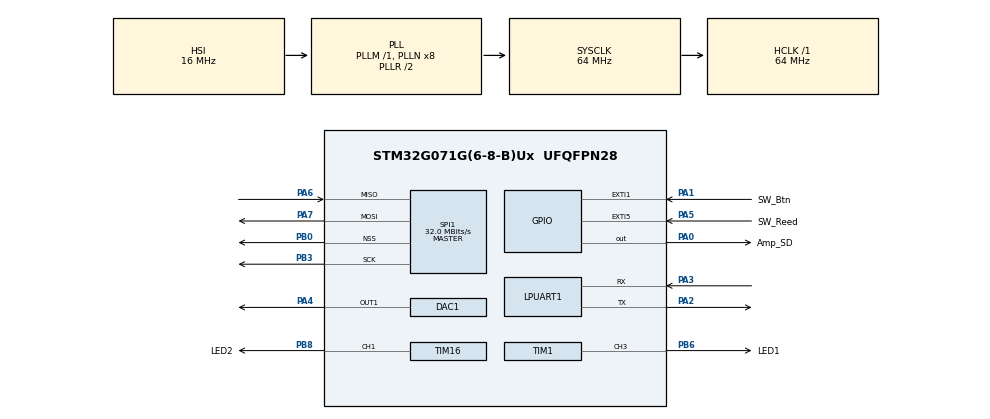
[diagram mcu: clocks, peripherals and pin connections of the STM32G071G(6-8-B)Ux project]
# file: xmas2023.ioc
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DAC1.DAC_Channel-DAC_OUT1=DAC_CHANNEL_1
Dma.Request0=TIM6_UP
Dma.TIM6_UP.0.Direction=DMA_MEMORY_TO_PERIPH
Dma.TIM6_UP.0.EventEnable=DISABLE
Dma.TIM6_UP.0.Instance=DMA1_Channel2
Dma.TIM6_UP.0.MemDataAlignment=DMA_MDATAALIGN_HALFWORD
Dma.TIM6_UP.0.MemInc=DMA_MINC_ENABLE
Dma.TIM6_UP.0.Mode=DMA_NORMAL
Dma.TIM6_UP.0.PeriphDataAlignment=DMA_PDATAALIGN_HALFWORD
Dma.TIM6_UP.0.PeriphInc=DMA_PINC_DISABLE
Dma.TIM6_UP.0.Polarity=HAL_DMAMUX_REQ_GEN_RISING
Dma.TIM6_UP.0.Priority=DMA_PRIORITY_VERY_HIGH
Dma.TIM6_UP.0.RequestNumber=1
Dma.TIM6_UP.0.SignalID=NONE
Dma.TIM6_UP.0.SyncEnable=DISABLE
Dma.TIM6_UP.0.SyncPolarity=HAL_DMAMUX_SYNC_NO_EVENT
Dma.TIM6_UP.0.SyncRequestNumber=1
Dma.TIM6_UP.0.SyncSignalID=NONE
Mcu.Family=STM32G0
Mcu.Name=STM32G071G(6-8-B)Ux
Mcu.Package=UFQFPN28
NVIC.DMA1_Channel2_3_IRQn=true\:0\:0\:false\:false\:true\:false\:true\:true
PA0.GPIO_Label=Amp_SD
PA0.Signal=GPIO_Output
PA1.GPIO_Label=SW_Btn
PA1.GPIO_ModeDefaultEXTI=GPIO_MODE_EVT_RISING
PA1.Signal=GPXTI1
PA13.Mode=Serial_Wire
PA13.Signal=SYS_SWDIO
PA14-BOOT0.Mode=Serial_Wire
PA14-BOOT0.Signal=SYS_SWCLK
PA2.Mode=Asynchronous
PA2.Signal=LPUART1_TX
PA3.Mode=Asynchronous
PA3.Signal=LPUART1_RX
PA4.Signal=COMP_DAC11_group
PA5.GPIO_Label=SW_Reed
PA5.GPIO_ModeDefaultEXTI=GPIO_MODE_EVT_RISING
PA5.Signal=GPXTI5
PA6.Mode=Full_Duplex_Master
PA6.Signal=SPI1_MISO
PA7.Mode=Full_Duplex_Master
PA7.Signal=SPI1_MOSI
PB0.Mode=NSS_Signal_Hard_Output
PB0.Signal=SPI1_NSS
PB3.Mode=Full_Duplex_Master
PB3.Signal=SPI1_SCK
PB6.GPIO_Label=LED1
PB6.Signal=S_TIM1_CH3
PB8.GPIO_Label=LED2
PB8.Signal=S_TIM16_CH1
ProjectManager.HeapSize=0x200
ProjectManager.StackSize=0x400
ProjectManager.TargetToolchain=STM32CubeIDE
RCC.ADCFreq_Value=64000000
RCC.AHBFreq_Value=64000000
RCC.CortexFreq_Value=64000000
RCC.EXTERNAL_CLOCK_VALUE=48000
RCC.HCLKFreq_Value=64000000
RCC.HSE_VALUE=8000000
RCC.HSI_VALUE=16000000
RCC.LSE_VALUE=32768
RCC.SYSCLKFreq_VALUE=64000000
RCC.SYSCLKSource=RCC_SYSCLKSOURCE_PLLCLK
RCC.VCOOutputFreq_Value=128000000
SH.COMP_DAC11_group.0=DAC1_OUT1,DAC_OUT1
SH.S_TIM16_CH1.0=TIM16_CH1,Output Compare1 CH1
SH.S_TIM1_CH3.0=TIM1_CH3,Output Compare3 CH3
SPI1.CalculateBaudRate=32.0 MBits/s
SPI1.Direction=SPI_DIRECTION_2LINES
SPI1.Mode=SPI_MODE_MASTER
SPI1.VirtualNSS=VM_NSSHARD
SPI1.VirtualType=VM_MASTER
SYS.PVDHLevel=PWR_PVDLEVEL_RISING_4
SYS.PVDLLevel=PWR_PVDLEVEL_FALLING_2
TIM1.Channel-Output\ Compare3\ CH3=TIM_CHANNEL_3
TIM16.Channel=TIM_CHANNEL_1
TIM6.Period=7999
VP_SYS_VS_DBSignals.Mode=DisableDeadBatterySignals
VP_SYS_V_PVD_IN.Mode=Mode_PVD_Int
VP_TIM16_VS_ClockSourceINT.Mode=Enable_Timer
VP_TIM6_VS_ClockSourceINT.Mode=Enable_Timer
board=custom

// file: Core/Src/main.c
/* USER CODE BEGIN Header */
/**
  ******************************************************************************
  * @file           : main.c
  * @brief          : Main program body
  ******************************************************************************
  * @attention
  *
  * Copyright (c) 2023 STMicroelectronics.
  * All rights reserved.
  *
  * This software is licensed under terms that can be found in the LICENSE file
  * in the root directory of this software component.
  * If no LICENSE file comes with this software, it is provided AS-IS.
  *
  ******************************************************************************
  */

/**
 * The Brio Light and Sound Level Crossing (33675, very much discontinued!)
 * has a pushbutton, a reed switch (detects train's magnets passing over it),
 * two red LEDs, and a speaker.
 *
 * This replacement board attempts to improve on the audio quality, but keep the
 * basic operation almost the same. The old board joined the two switches to
 * a single pin. I'm keeping them separated so we can use the pushbutton for
 * additional functions. Like making the darn thing quiet. Right?
 *
 *
 * Basic operation -
 * Starts into a low power mode (WFE).
 * When either button is activated, plays a train crossing sound (TBD: only one
 * in memory? Multiple and cycle through them? Random selection?) and flashes
 * the LEDs alternately at a rate of about 2Hz.
 *
 * The flashing and sound should be about 5 seconds long to match the original.
 *
 * I'm using the length of the audio track (MP3 file) to determine how long
 * to flash lights.
 */

/* USER CODE END Header */
#include "main.h"

/* USER CODE BEGIN Includes */
#include <stdbool.h>

#include "audio.h"
#include "OneButton.h"
#include "signal_leds.h"
/* USER CODE END Includes */

/* USER CODE BEGIN PTD */
typedef enum LightSoundState_e{
	INACTIVE,
	ACTIVE
} LSState;

typedef enum SwitchState_e{
	RELEASED,
	PRESSED,
	LONG_PRESSED,
	DOUBLE_CLICKED
} SwState;

/* USER CODE END PTD */

/* USER CODE BEGIN PD */
//const uint8_t* mp3_file = (uint8_t*)(0x8010000); // offset of 64k from start of Flash
//const int filelen = 27059;

extern uint8_t audio1_data[];
extern size_t audio1_size;

extern uint8_t whistle_data[];
extern size_t whistle_size;

extern uint8_t chug_data[];
extern size_t chug_size;

#define LED_BLINK_TIME		(200u) // 200 millisecond blink

/* USER CODE END PD */

DAC_HandleTypeDef hdac1;

UART_HandleTypeDef hlpuart1;

SPI_HandleTypeDef hspi1;

TIM_HandleTypeDef htim1;
TIM_HandleTypeDef htim6;
TIM_HandleTypeDef htim16;
DMA_HandleTypeDef hdma_tim6_up;

/* USER CODE BEGIN PV */
OneButton SW1;
LSState LightAndSoundState = INACTIVE;
volatile SwState ReedSwitchState = RELEASED;
volatile SwState ButtonState = RELEASED;

bool ReedSwitchLockout = false;

bool wake_stay_active = false; // set when exiting sleep to give a little time for a switch debounce
uint32_t last_wake_time = 0;
const uint32_t wake_active_time_ms = 100; // time to keep active after waking from sleep

uint32_t reed_sw_integrator = 0;
const uint32_t reed_sw_int_limit = 50; // Simple 50 ms debouncer using an integrator

unsigned int which_audio_file = 0;

volatile uint32_t LED_counter = 0;

/* USER CODE END PV */

void SystemClock_Config(void);
static void MX_GPIO_Init(void);
static void MX_DMA_Init(void);
static void MX_DAC1_Init(void);
static void MX_LPUART1_UART_Init(void);
static void MX_SPI1_Init(void);
static void MX_TIM1_Init(void);
static void MX_TIM16_Init(void);
static void MX_TIM6_Init(void);
/* USER CODE BEGIN PFP */

bool CanSleepNow(); // true iff nothing is happening and we're okay to enter low power mode
void ReEnablePLL(); // set the clock back to 64MHz after leaving deep sleep
// Pushbutton callbacks (OneButton library)
void button_pressed();
void button_long_pressed();
void button_double_clicked();
/* USER CODE END PFP */

int main(void)
{
  /* USER CODE BEGIN 1 */
	SW1._initDone = false;
	// enforce system flash in address remap
	// this allows us to ignore vector table offset
	// since it defaults to zero
	__HAL_RCC_SYSCFG_CLK_ENABLE();
	SYSCFG->CFGR1 &= ~(SYSCFG_CFGR1_MEM_MODE);

  /* USER CODE END 1 */

  /* MCU Configuration--------------------------------------------------------*/

  /* Reset of all peripherals, Initializes the Flash interface and the Systick. */
  HAL_Init();

  /* Configure the system clock */
  SystemClock_Config();

  /* Initialize all configured peripherals */
  MX_GPIO_Init();
  MX_DMA_Init();
  MX_DAC1_Init();
  MX_LPUART1_UART_Init();
  MX_SPI1_Init();
  MX_TIM1_Init();
  MX_TIM16_Init();
  MX_TIM6_Init();
  /* USER CODE BEGIN 2 */

  // Change low power mode to Stop 1
  // This mode has the high speed clock stopped
  // and almost all peripherals stopped. Low speed clocks
  // could keep running (although I'm not using them).
  // When returning from Stop mode, the PLL needs to be
  // reactivated. System clock will be HSISYS.
  __HAL_RCC_PWR_CLK_ENABLE();
  PWR->CR1 &= ~(PWR_CR1_LPMS_Msk);
  PWR->CR1 |= PWR_LOWPOWERMODE_STOP1; // Set PWR::CR1::LPMS to 0b001 (Stop 1)
  SCB->SCR |= (uint32_t)SCB_SCR_SLEEPDEEP_Msk;

  // Initialize Switch 1 (pushbutton) with OneButton library
  OneButtonInit(&SW1, GPIOA, 1, false, false);
  attachClick(&SW1, button_pressed);

  init_audio(&hdma_tim6_up, &htim6);

  // for now, not using the timers for LEDs. just on-off control.
  // assign LED1 and LED2 to outputs instead of alternate function

  signal_init();

  //LED1_GPIO_Port->BSRR = LED1_Pin | LED2_Pin; // LEDs are active low, set them high to turn off

  //LED1_GPIO_Port->MODER &= ~((GPIO_MODE)*(LED1_Pin*LED1_Pin));  // note: LED1_Pin is (1 << pin_number). So squaring it is (1 << (2*pin_number))
  //LED1_GPIO_Port->MODER |= (MODE_OUTPUT * (LED1_Pin*LED1_Pin));
  //LED1_GPIO_Port->MODER &= ~((GPIO_MODE)*(LED2_Pin*LED2_Pin));
  //LED1_GPIO_Port->MODER |= (MODE_OUTPUT * (LED2_Pin*LED2_Pin));

  // maximum speed (or current) to blinky the leds
  //LED1_GPIO_Port->OSPEEDR |= (GPIO_SPEED_FREQ_VERY_HIGH*(LED1_Pin*LED1_Pin)) | (GPIO_SPEED_FREQ_VERY_HIGH*(LED2_Pin*LED2_Pin));

  /* USER CODE END 2 */

  /* Infinite loop */
  while (1)
  {

    /* USER CODE BEGIN 3 */

	  // Enter stop mode by issuing WFE.
	  if(CanSleepNow())
	  {
		  //__WFE();

		  // We get here by waking up from stop mode.
		  // Make sure to clear any pending EXTI events.
		  EXTI->RPR1 = (1ul << 1ul) + (1ul << 5ul); // Clears bits 1 and 5. RPR1 is a write-1-to-clear

		  // Fix the clock. This will only need to be done if stop mode was
		  // actually entered. The WFE instruction could have been skipped
		  // if the event flag was already set.

		  // Check if the system clock isn't PLL.
		  if(__HAL_RCC_GET_SYSCLK_SOURCE() != (RCC_SYSCLKSOURCE_PLLCLK << RCC_CFGR_SWS_Pos))
		  {
			  ReEnablePLL();
			  // Keep awake a little while to ensure we catch a bouncing button
			  last_wake_time = HAL_GetTick();
			  wake_stay_active = true;
		  }

	  }

	  // If button debounced good, play sound and flash lights
	  if(ReedSwitchState == PRESSED || ButtonState == PRESSED)
	  {
		  // Acknowledge the pushbutton state (clear it)
		  if(ButtonState == PRESSED)
		  {
			  ButtonState = RELEASED;
		  }
		  if(!currently_playing())
		  {
			  // Lockout the reed switch. This prevents it from continuously playing
			  // while a magnet is parked on top of the switch.
			  if(ReedSwitchState == PRESSED) {
				  ReedSwitchLockout = true;
			  }
			  switch(which_audio_file) {
			  case 0:
			  	  start_playing_audio_file(audio1_data, audio1_size);
			  	  which_audio_file = 1;
			  	  break;
			  case 1:
				  start_playing_audio_file(whistle_data, whistle_size);
				  which_audio_file = 2;
				  break;
			  case 2:
				  start_playing_audio_file(chug_data, chug_size);
				  which_audio_file = 0;
				  break;

			  }

			  // Set one of the LEDs on. The systick callback will cause them
			  // both to blink, which should appear as alternating lights
			  HAL_GPIO_WritePin(LED1_GPIO_Port, LED1_Pin, GPIO_PIN_RESET);
			  LED_counter = 0;
		  }
	  }

	  // Clear reed switch lockout if it is not active / pressed
	  if(ReedSwitchState == RELEASED) {
		  ReedSwitchLockout = false;
	  }

	  /*
	  if(currently_playing())
	  {
		  // TODO: flash lights;
		  // use systick and our own local counter to determine when to blink
	  }
	  */

  }
  /* USER CODE END 3 */
}

void SystemClock_Config(void)
{
  RCC_OscInitTypeDef RCC_OscInitStruct = {0};
  RCC_ClkInitTypeDef RCC_ClkInitStruct = {0};

  /** Configure the main internal regulator output voltage
  */
  HAL_PWREx_ControlVoltageScaling(PWR_REGULATOR_VOLTAGE_SCALE1);

  /** Initializes the RCC Oscillators according to the specified parameters
  * in the RCC_OscInitTypeDef structure.
  */
  RCC_OscInitStruct.OscillatorType = RCC_OSCILLATORTYPE_HSI;
  RCC_OscInitStruct.HSIState = RCC_HSI_ON;
  RCC_OscInitStruct.HSIDiv = RCC_HSI_DIV1;
  RCC_OscInitStruct.HSICalibrationValue = RCC_HSICALIBRATION_DEFAULT;
  RCC_OscInitStruct.PLL.PLLState = RCC_PLL_ON;
  RCC_OscInitStruct.PLL.PLLSource = RCC_PLLSOURCE_HSI;
  RCC_OscInitStruct.PLL.PLLM = RCC_PLLM_DIV1;
  RCC_OscInitStruct.PLL.PLLN = 8;
  RCC_OscInitStruct.PLL.PLLP = RCC_PLLP_DIV2;
  RCC_OscInitStruct.PLL.PLLQ = RCC_PLLQ_DIV2;
  RCC_OscInitStruct.PLL.PLLR = RCC_PLLR_DIV2;
  if (HAL_RCC_OscConfig(&RCC_OscInitStruct) != HAL_OK)
  {
    Error_Handler();
  }

  /** Initializes the CPU, AHB and APB buses clocks
  */
  RCC_ClkInitStruct.ClockType = RCC_CLOCKTYPE_HCLK|RCC_CLOCKTYPE_SYSCLK
                              |RCC_CLOCKTYPE_PCLK1;
  RCC_ClkInitStruct.SYSCLKSource = RCC_SYSCLKSOURCE_PLLCLK;
  RCC_ClkInitStruct.AHBCLKDivider = RCC_SYSCLK_DIV1;
  RCC_ClkInitStruct.APB1CLKDivider = RCC_HCLK_DIV1;

  if (HAL_RCC_ClockConfig(&RCC_ClkInitStruct, FLASH_LATENCY_2) != HAL_OK)
  {
    Error_Handler();
  }
}

static void MX_DAC1_Init(void)
{

  DAC_ChannelConfTypeDef sConfig = {0};

  /** DAC Initialization
  */
  hdac1.Instance = DAC1;
  if (HAL_DAC_Init(&hdac1) != HAL_OK)
  {
    Error_Handler();
  }

  /** DAC channel OUT1 config
  */
  sConfig.DAC_SampleAndHold = DAC_SAMPLEANDHOLD_DISABLE;
  sConfig.DAC_Trigger = DAC_TRIGGER_NONE;
  sConfig.DAC_OutputBuffer = DAC_OUTPUTBUFFER_ENABLE;
  sConfig.DAC_ConnectOnChipPeripheral = DAC_CHIPCONNECT_DISABLE;
  sConfig.DAC_UserTrimming = DAC_TRIMMING_FACTORY;
  if (HAL_DAC_ConfigChannel(&hdac1, &sConfig, DAC_CHANNEL_1) != HAL_OK)
  {
    Error_Handler();
  }

}

static void MX_LPUART1_UART_Init(void)
{

  hlpuart1.Instance = LPUART1;
  hlpuart1.Init.BaudRate = 209700;
  hlpuart1.Init.WordLength = UART_WORDLENGTH_7B;
  hlpuart1.Init.StopBits = UART_STOPBITS_1;
  hlpuart1.Init.Parity = UART_PARITY_NONE;
  hlpuart1.Init.Mode = UART_MODE_TX_RX;
  hlpuart1.Init.HwFlowCtl = UART_HWCONTROL_NONE;
  hlpuart1.Init.OneBitSampling = UART_ONE_BIT_SAMPLE_DISABLE;
  hlpuart1.Init.ClockPrescaler = UART_PRESCALER_DIV1;
  hlpuart1.AdvancedInit.AdvFeatureInit = UART_ADVFEATURE_NO_INIT;
  hlpuart1.FifoMode = UART_FIFOMODE_DISABLE;
  if (HAL_UART_Init(&hlpuart1) != HAL_OK)
  {
    Error_Handler();
  }
  if (HAL_UARTEx_SetTxFifoThreshold(&hlpuart1, UART_TXFIFO_THRESHOLD_1_8) != HAL_OK)
  {
    Error_Handler();
  }
  if (HAL_UARTEx_SetRxFifoThreshold(&hlpuart1, UART_RXFIFO_THRESHOLD_1_8) != HAL_OK)
  {
    Error_Handler();
  }
  if (HAL_UARTEx_DisableFifoMode(&hlpuart1) != HAL_OK)
  {
    Error_Handler();
  }

}

static void MX_SPI1_Init(void)
{

  /* SPI1 parameter configuration*/
  hspi1.Instance = SPI1;
  hspi1.Init.Mode = SPI_MODE_MASTER;
  hspi1.Init.Direction = SPI_DIRECTION_2LINES;
  hspi1.Init.DataSize = SPI_DATASIZE_4BIT;
  hspi1.Init.CLKPolarity = SPI_POLARITY_LOW;
  hspi1.Init.CLKPhase = SPI_PHASE_1EDGE;
  hspi1.Init.NSS = SPI_NSS_HARD_OUTPUT;
  hspi1.Init.BaudRatePrescaler = SPI_BAUDRATEPRESCALER_2;
  hspi1.Init.FirstBit = SPI_FIRSTBIT_MSB;
  hspi1.Init.TIMode = SPI_TIMODE_DISABLE;
  hspi1.Init.CRCCalculation = SPI_CRCCALCULATION_DISABLE;
  hspi1.Init.CRCPolynomial = 7;
  hspi1.Init.CRCLength = SPI_CRC_LENGTH_DATASIZE;
  hspi1.Init.NSSPMode = SPI_NSS_PULSE_ENABLE;
  if (HAL_SPI_Init(&hspi1) != HAL_OK)
  {
    Error_Handler();
  }

}

static void MX_TIM1_Init(void)
{

  TIM_MasterConfigTypeDef sMasterConfig = {0};
  TIM_OC_InitTypeDef sConfigOC = {0};
  TIM_BreakDeadTimeConfigTypeDef sBreakDeadTimeConfig = {0};

  htim1.Instance = TIM1;
  htim1.Init.Prescaler = 0;
  htim1.Init.CounterMode = TIM_COUNTERMODE_UP;
  htim1.Init.Period = 65535;
  htim1.Init.ClockDivision = TIM_CLOCKDIVISION_DIV1;
  htim1.Init.RepetitionCounter = 0;
  htim1.Init.AutoReloadPreload = TIM_AUTORELOAD_PRELOAD_DISABLE;
  if (HAL_TIM_OC_Init(&htim1) != HAL_OK)
  {
    Error_Handler();
  }
  sMasterConfig.MasterOutputTrigger = TIM_TRGO_RESET;
  sMasterConfig.MasterOutputTrigger2 = TIM_TRGO2_RESET;
  sMasterConfig.MasterSlaveMode = TIM_MASTERSLAVEMODE_DISABLE;
  if (HAL_TIMEx_MasterConfigSynchronization(&htim1, &sMasterConfig) != HAL_OK)
  {
    Error_Handler();
  }
  sConfigOC.OCMode = TIM_OCMODE_TIMING;
  sConfigOC.Pulse = 0;
  sConfigOC.OCPolarity = TIM_OCPOLARITY_HIGH;
  sConfigOC.OCNPolarity = TIM_OCNPOLARITY_HIGH;
  sConfigOC.OCFastMode = TIM_OCFAST_DISABLE;
  sConfigOC.OCIdleState = TIM_OCIDLESTATE_RESET;
  sConfigOC.OCNIdleState = TIM_OCNIDLESTATE_RESET;
  if (HAL_TIM_OC_ConfigChannel(&htim1, &sConfigOC, TIM_CHANNEL_3) != HAL_OK)
  {
    Error_Handler();
  }
  sBreakDeadTimeConfig.OffStateRunMode = TIM_OSSR_DISABLE;
  sBreakDeadTimeConfig.OffStateIDLEMode = TIM_OSSI_DISABLE;
  sBreakDeadTimeConfig.LockLevel = TIM_LOCKLEVEL_OFF;
  sBreakDeadTimeConfig.DeadTime = 0;
  sBreakDeadTimeConfig.BreakState = TIM_BREAK_DISABLE;
  sBreakDeadTimeConfig.BreakPolarity = TIM_BREAKPOLARITY_HIGH;
  sBreakDeadTimeConfig.BreakFilter = 0;
  sBreakDeadTimeConfig.BreakAFMode = TIM_BREAK_AFMODE_INPUT;
  sBreakDeadTimeConfig.Break2State = TIM_BREAK2_DISABLE;
  sBreakDeadTimeConfig.Break2Polarity = TIM_BREAK2POLARITY_HIGH;
  sBreakDeadTimeConfig.Break2Filter = 0;
  sBreakDeadTimeConfig.Break2AFMode = TIM_BREAK_AFMODE_INPUT;
  sBreakDeadTimeConfig.AutomaticOutput = TIM_AUTOMATICOUTPUT_DISABLE;
  if (HAL_TIMEx_ConfigBreakDeadTime(&htim1, &sBreakDeadTimeConfig) != HAL_OK)
  {
    Error_Handler();
  }
  HAL_TIM_MspPostInit(&htim1);

}

static void MX_TIM6_Init(void)
{

  TIM_MasterConfigTypeDef sMasterConfig = {0};

  htim6.Instance = TIM6;
  htim6.Init.Prescaler = 0;
  htim6.Init.CounterMode = TIM_COUNTERMODE_UP;
  htim6.Init.Period = 7999;
  htim6.Init.AutoReloadPreload = TIM_AUTORELOAD_PRELOAD_DISABLE;
  if (HAL_TIM_Base_Init(&htim6) != HAL_OK)
  {
    Error_Handler();
  }
  sMasterConfig.MasterOutputTrigger = TIM_TRGO_RESET;
  sMasterConfig.MasterSlaveMode = TIM_MASTERSLAVEMODE_DISABLE;
  if (HAL_TIMEx_MasterConfigSynchronization(&htim6, &sMasterConfig) != HAL_OK)
  {
    Error_Handler();
  }

}

static void MX_TIM16_Init(void)
{

  TIM_OC_InitTypeDef sConfigOC = {0};
  TIM_BreakDeadTimeConfigTypeDef sBreakDeadTimeConfig = {0};

  htim16.Instance = TIM16;
  htim16.Init.Prescaler = 0;
  htim16.Init.CounterMode = TIM_COUNTERMODE_UP;
  htim16.Init.Period = 65535;
  htim16.Init.ClockDivision = TIM_CLOCKDIVISION_DIV1;
  htim16.Init.RepetitionCounter = 0;
  htim16.Init.AutoReloadPreload = TIM_AUTORELOAD_PRELOAD_DISABLE;
  if (HAL_TIM_Base_Init(&htim16) != HAL_OK)
  {
    Error_Handler();
  }
  if (HAL_TIM_OC_Init(&htim16) != HAL_OK)
  {
    Error_Handler();
  }
  sConfigOC.OCMode = TIM_OCMODE_TIMING;
  sConfigOC.Pulse = 0;
  sConfigOC.OCPolarity = TIM_OCPOLARITY_HIGH;
  sConfigOC.OCNPolarity = TIM_OCNPOLARITY_HIGH;
  sConfigOC.OCFastMode = TIM_OCFAST_DISABLE;
  sConfigOC.OCIdleState = TIM_OCIDLESTATE_RESET;
  sConfigOC.OCNIdleState = TIM_OCNIDLESTATE_RESET;
  if (HAL_TIM_OC_ConfigChannel(&htim16, &sConfigOC, TIM_CHANNEL_1) != HAL_OK)
  {
    Error_Handler();
  }
  sBreakDeadTimeConfig.OffStateRunMode = TIM_OSSR_DISABLE;
  sBreakDeadTimeConfig.OffStateIDLEMode = TIM_OSSI_DISABLE;
  sBreakDeadTimeConfig.LockLevel = TIM_LOCKLEVEL_OFF;
  sBreakDeadTimeConfig.DeadTime = 0;
  sBreakDeadTimeConfig.BreakState = TIM_BREAK_DISABLE;
  sBreakDeadTimeConfig.BreakPolarity = TIM_BREAKPOLARITY_HIGH;
  sBreakDeadTimeConfig.BreakFilter = 0;
  sBreakDeadTimeConfig.AutomaticOutput = TIM_AUTOMATICOUTPUT_DISABLE;
  if (HAL_TIMEx_ConfigBreakDeadTime(&htim16, &sBreakDeadTimeConfig) != HAL_OK)
  {
    Error_Handler();
  }
  HAL_TIM_MspPostInit(&htim16);

}

static void MX_DMA_Init(void)
{

  /* DMA controller clock enable */
  __HAL_RCC_DMA1_CLK_ENABLE();

  /* DMA interrupt init */
  /* DMA1_Channel2_3_IRQn interrupt configuration */
  HAL_NVIC_SetPriority(DMA1_Channel2_3_IRQn, 0, 0);
  HAL_NVIC_EnableIRQ(DMA1_Channel2_3_IRQn);
  /* DMA1_Ch4_7_DMAMUX1_OVR_IRQn interrupt configuration */
  HAL_NVIC_SetPriority(DMA1_Ch4_7_DMAMUX1_OVR_IRQn, 0, 0);
  HAL_NVIC_EnableIRQ(DMA1_Ch4_7_DMAMUX1_OVR_IRQn);

}

static void MX_GPIO_Init(void)
{
  GPIO_InitTypeDef GPIO_InitStruct = {0};

  /* GPIO Ports Clock Enable */
  __HAL_RCC_GPIOA_CLK_ENABLE();
  __HAL_RCC_GPIOB_CLK_ENABLE();

  /*Configure GPIO pin Output Level */
  HAL_GPIO_WritePin(Amp_SD_GPIO_Port, Amp_SD_Pin, GPIO_PIN_RESET);

  /*Configure GPIO pin : Amp_SD_Pin */
  GPIO_InitStruct.Pin = Amp_SD_Pin;
  GPIO_InitStruct.Mode = GPIO_MODE_OUTPUT_PP;
  GPIO_InitStruct.Pull = GPIO_NOPULL;
  GPIO_InitStruct.Speed = GPIO_SPEED_FREQ_LOW;
  HAL_GPIO_Init(Amp_SD_GPIO_Port, &GPIO_InitStruct);

  /*Configure GPIO pins : SW_Btn_Pin SW_Reed_Pin */
  GPIO_InitStruct.Pin = SW_Btn_Pin|SW_Reed_Pin;
  GPIO_InitStruct.Mode = GPIO_MODE_EVT_RISING;
  GPIO_InitStruct.Pull = GPIO_NOPULL;
  HAL_GPIO_Init(GPIOA, &GPIO_InitStruct);

}

/* USER CODE BEGIN 4 */

bool CanSleepNow()
{
	// still in our keep awake period?
	if(wake_stay_active) {
		if (HAL_GetTick() - last_wake_time >= wake_active_time_ms) {
			// keep awake has elapsed, clear the flag
			wake_stay_active = false;
		} else {
			return false;
		}
	}

	// either of the buttons pressed?
	if ( (GPIO_PIN_SET == HAL_GPIO_ReadPin(GPIOA, SW_Btn_Pin) ) ||
			(GPIO_PIN_SET == HAL_GPIO_ReadPin(GPIOA, SW_Reed_Pin)) ) {
		return false;
	}

	// push button in the middle of a click state? the button might physically be up
	// but our button library hasn't triggered the callback yet
	if(!isIdle(&SW1))
	{
		return false;
	}

	// otherwise, just check if we're playing sound and flashing lights
	return (!currently_playing());
}

void ReEnablePLL() {
	// Set PLL multipliers, etc
	__HAL_RCC_PLL_DISABLE(); // just make sure it's really really turned off first
	while (READ_BIT(RCC->CR, RCC_CR_PLLRDY) != 0U);

#if defined(RCC_PLLQ_SUPPORT)
	__HAL_RCC_PLL_CONFIG(RCC_PLLSOURCE_HSI,
							RCC_PLLM_DIV1,
							8,
							RCC_PLLP_DIV2,
							RCC_PLLQ_DIV2,
							RCC_PLLR_DIV2);
#else /* !RCC_PLLQ_SUPPORT */
	__HAL_RCC_PLL_CONFIG(RCC_PLLSOURCE_HSI,
							RCC_PLLM_DIV1,
							8,
							RCC_PLLP_DIV2,
							RCC_PLLR_DIV2);
#endif /* RCC_PLLQ_SUPPORT */

	__HAL_RCC_PLL_ENABLE();
	__HAL_RCC_PLLCLKOUT_ENABLE(RCC_PLLRCLK);

	// wait until PLL is ready
	while (READ_BIT(RCC->CR, RCC_CR_PLLRDY) == 0U);

	// switch system clock to PLL
	MODIFY_REG(RCC->CFGR, RCC_CFGR_SW, RCC_SYSCLKSOURCE_PLLCLK);

	// wait until it has switched over
	while(__HAL_RCC_GET_SYSCLK_SOURCE() != (RCC_SYSCLKSOURCE_PLLCLK << RCC_CFGR_SWS_Pos));
}

void main_systick_callback() {
	// OneButton library for the pushbutton
	if(SW1._initDone) {
		tick(&SW1);
	}

	// simple integrator debouncer for the reed switch
	if(GPIO_PIN_SET == HAL_GPIO_ReadPin(GPIOA, SW_Reed_Pin)) {
		if(reed_sw_integrator < reed_sw_int_limit) {
			reed_sw_integrator++;
		}
	} else {
		if(reed_sw_integrator > 0) {
			reed_sw_integrator--;
		}
	}

	if(PRESSED == ReedSwitchState) {
		if(0 == reed_sw_integrator) {
			ReedSwitchState = RELEASED;
		}
	} else {
		if( reed_sw_int_limit <= reed_sw_integrator) {
			ReedSwitchState = PRESSED;
		}
	}

	// LED blink
	if(currently_playing()) {
		LED_counter++;
		if(LED_counter >= LED_BLINK_TIME) {
			HAL_GPIO_TogglePin(LED1_GPIO_Port, LED1_Pin | LED2_Pin);
			LED_counter = 0;
		}
	}
}

void button_pressed() {
	ButtonState = PRESSED;
}
void button_long_pressed() {
	ButtonState = LONG_PRESSED;
}
void button_double_clicked() {
	ButtonState = DOUBLE_CLICKED;
}

void audio_finished() {
	// ensure LEDs are turned off
	LED1_GPIO_Port->BSRR = LED1_Pin | LED2_Pin;
}

/* USER CODE END 4 */

void Error_Handler(void)
{
  __disable_irq();
  while (1)
  {
  }
}
